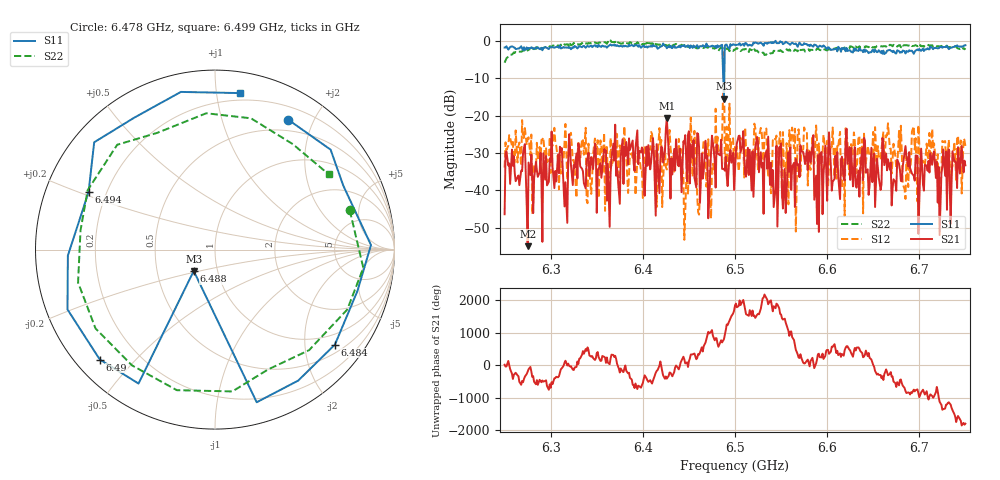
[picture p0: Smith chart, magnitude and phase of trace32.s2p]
# Hz S RI R 50
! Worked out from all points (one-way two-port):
!   401 points, 6.25 GHz to 6.75 GHz, reference 50 ohm
!   highest |S21| = -20.65 dB at 6.426 GHz (marker M1); lowest = -54.9 dB at 6.275 GHz (marker M2)
!   lowest |S11| = -15.5 dB at 6.488 GHz (marker M3), VSWR 1.40, Z = 38.4 - j9.4 ohm
!   |S11| at or under -10 dB: 6.487236 GHz to 6.488388 GHz (1.151 MHz wide, 0.0177 % of centre)
!   |S22| runs from -5.9 to 0.1 dB; largest |S21 - S12| = 0.73
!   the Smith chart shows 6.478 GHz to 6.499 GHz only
!   S11 on the Smith chart (normalised r, x): 6.478 GHz: 0.35, +1.66; 6.484 GHz: 0.70, -2.71; 6.488 GHz: 0.77, -0.19; 6.49 GHz: 0.07, -0.40; 6.494 GHz: 0.13, +0.21; 6.499 GHz: 0.15, +1.16
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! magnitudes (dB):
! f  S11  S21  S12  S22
! 6.25 GHz  -1.8  -46.4  -33.9  -5.9
! 6.275 GHz  -2.2  -54.9  -26.3  -2.6
! 6.282 GHz  -2.2  -36.8  -33.2  -2.1
! 6.334 GHz  -1.7  -34.2  -26.4  -0.6
! 6.418 GHz  -1.8  -40.7  -23.4  -1.1
! 6.426 GHz  -2.0  -20.6  -34.4  -1.3
! 6.446 GHz  -1.7  -25.2  -45.9  -1.7
! 6.454 GHz  -1.9  -31.3  -36.4  -1.6
! 6.46 GHz  -2.0  -24.9  -45.8  -2.0
! 6.478 GHz  -1.6  -32.1  -35.6  -2.1
! 6.484 GHz  -1.4  -30.6  -29.8  -2.0
! 6.488 GHz  -15.5  -34.3  -2.8  -2.0
! 6.49 GHz  -1.0  -31.0  -29.4  -2.4
! 6.494 GHz  -2.2  -30.8  -16.8  -2.8
! 6.499 GHz  -1.1  -39.8  -35.8  -2.4
! 6.5 GHz  -1.1  -34.6  -28.4  -2.4
! 6.584 GHz  -1.5  -28.0  -25.5  -2.5
! 6.589 GHz  -1.5  -49.0  -26.7  -2.1
! 6.668 GHz  -2.4  -34.5  -28.7  -1.2
! 6.685 GHz  -3.4  -28.2  -42.3  -1.2
! 6.694 GHz  -3.5  -36.2  -22.9  -1.4
! 6.75 GHz  -1.2  -33.3  -28.2  -2.0
